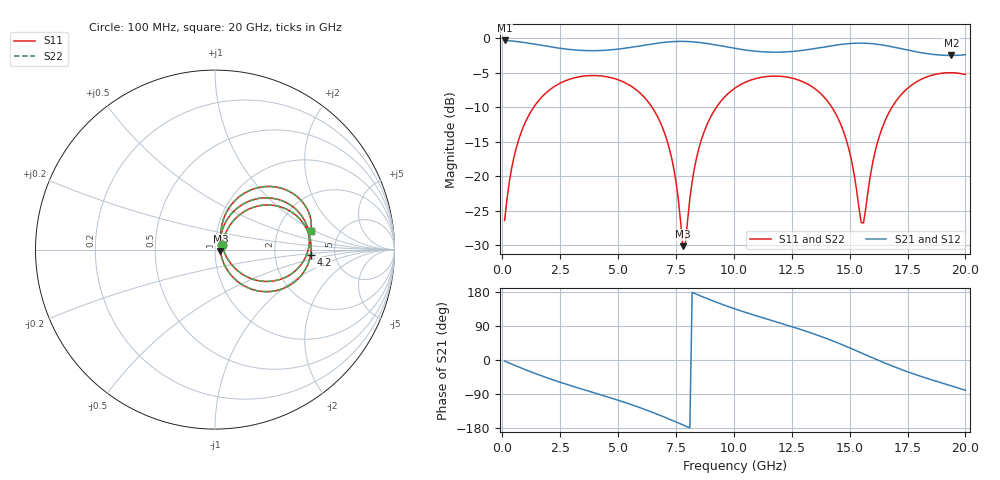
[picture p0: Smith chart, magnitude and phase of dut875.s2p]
! Touchstone file exported from HFSS 2026.1.0
!  File:  C:/ffzhzh/LocalFiles/Ansys_Project_Files/temp_train_TSV_RDL_875_1783272830_39728.aedt
!  Generated:  01:49:21 AM Jul  6, 2026
!  Design:  TSV_RDL
!  Project:  temp_train_TSV_RDL_875_1783272830_39728
! Variables:
!  h_bsmrdl = 4.71um
!  h_ox = 20um
!  h_rdl = 5um
!  h_sub = 97.66um
!  h_tmrdl = 2.44um
!  h_tsv = 97.66um
!  h_via = 3um
!  l_bsmrdl = 912.21um
!  l_sub = 7218.66um
!  l_tmrdl = 984.68um
!  m_sub = 200um
!  pitch = 52um
!  r_tsv = 7.22um
!  s_tmrdl = 10um
!  w_bsmrdl = 29.57um
!  w_sub = 500um
!  w_tmrdl = 18.2um
!  x_tsv_center1 = 993.78um
!  x_tsv_center2 = 1935.56um
!  x_tsv_center3 = 2938.44um
!  x_tsv_center4 = 3880.22um
!  x_tsv_center5 = 4883.1um
!  x_tsv_center6 = 5824.88um
# GHz S MA R 50.000000
! Terminal data exported
! Port[1] = TM_RDL1_1_T1
! Port[2] = TM_RDL5_1_T1
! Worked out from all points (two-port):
!   200 points, 100 MHz to 20 GHz, reference 50 ohm
!   highest |S21| = -0.35 dB at 100 MHz (marker M1); lowest = -2.5 dB at 19.4 GHz (marker M2)
!   |S21| within 3 dB of the highest: start of sweep to end of sweep
!   lowest |S11| = -30.1 dB at 7.8 GHz (marker M3), VSWR 1.06, Z = 53.1 - j0.958 ohm
!   |S11| at or under -10 dB: start of sweep to 1.358 GHz; 6.464 GHz to 9.25 GHz (2.786 GHz wide, 35.5 % of centre); 14.23 GHz to 16.83 GHz (2.602 GHz wide, 16.8 % of centre)
!   |S22| runs from -30.2 to -5.0 dB; largest |S21 - S12| = 1.6e-14
!   S11 on the Smith chart (normalised r, x): 100 MHz: 1.08, +0.06; 4.2 GHz: 3.26, -0.25; 20 GHz: 3.10, +0.90
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0.1  0.04795 32.6  0.9605 -2.7  0.9605 -2.7  0.04795 32.6
! Gamma 0 0 0 0
! Port Impedance 50 0 50 0
0.5  0.1367 58.4  0.9484 -13.2  0.9484 -13.2  0.1367 58.4
1.2  0.2869 50.8  0.9145 -30.5  0.9145 -30.5  0.2869 50.8
3.5  0.5301 9.1  0.8125 -77.9  0.8125 -77.9  0.5301 9.2
4.2  0.5334 -3.0  0.8117 -90.9  0.8117 -90.9  0.5334 -3.0
5.7  0.4331 -30.4  0.8637 -120.4  0.8637 -120.4  0.4331 -30.4
6.8  0.2504 -52.0  0.9226 -145.7  0.9226 -145.7  0.2504 -52.0
7.4  0.1154 -58.9  0.9427 -160.9  0.9427 -160.9  0.1153 -59.0
7.8  0.03127 -16.8  0.9458 -171.3  0.9458 -171.3  0.03105 -16.9
7.9  0.03136 28.0  0.9451 -173.9  0.9451 -173.9  0.03113 28.1
8.6  0.1842 67.8  0.9249 168.1  0.9249 168.1  0.1842 67.9
10.1  0.4403 40.0  0.8389 133.8  0.8389 133.8  0.4403 40.0
11.8  0.5308 9.8  0.79 101.1  0.79 101.1  0.5308 9.9
13.4  0.442 -18.4  0.8343 70.0  0.8343 70.0  0.442 -18.3
14.7  0.2192 -41.4  0.9021 39.8  0.9021 39.8  0.2194 -41.1
15.1  0.126 -42.4  0.9148 29.5  0.9148 29.5  0.1263 -41.9
15.5  0.04629 -0.3  0.9187 18.8  0.9187 18.8  0.04719 0.1
16.1  0.1505 74.6  0.9053 2.9  0.9053 2.9  0.1508 74.3
16.7  0.2891 68.4  0.8732 -12.4  0.8732 -12.4  0.2892 68.2
17.9  0.4834 46.3  0.7941 -39.5  0.7941 -39.5  0.4835 46.3
19.4  0.5615 20.6  0.7481 -68.4  0.7481 -68.4  0.5615 20.5
20  0.5445 10.8  0.7575 -79.8  0.7575 -79.8  0.5446 10.8
